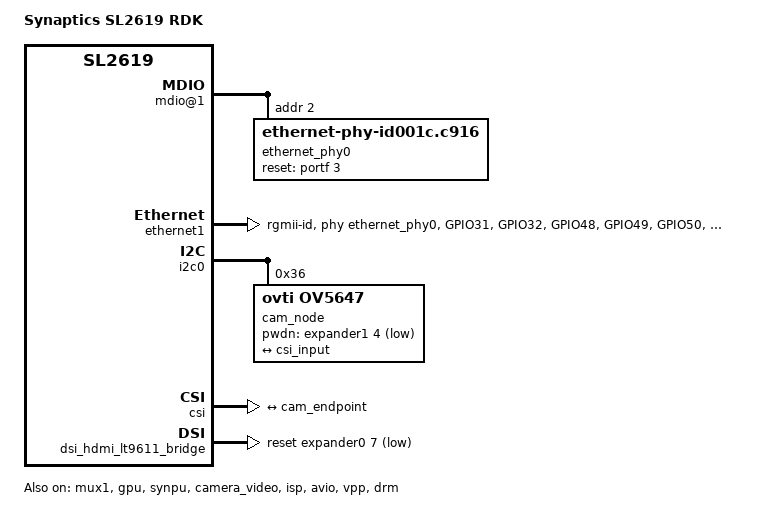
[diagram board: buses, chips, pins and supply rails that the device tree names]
// SPDX-License-Identifier: (GPL-2.0 OR MIT)
/*
 * Copyright (C) 2025 Synaptics Incorporated
 *
 * Author: Jisheng Zhang <jszhang@kernel.org>
 */

/dts-v1/;

#include "sl2619.dtsi"
#include "sl261x-rdk-common.dtsi"

/ {
	model = "Synaptics SL2619 RDK";
	compatible = "syna,sl2619-rdk", "syna,sl2619";

	mdio-demux {
		compatible = "mdio-demux";
		mux-controls = <&mux1 0>;
		mdio-parent-bus = <&mdio1>;
		#address-cells = <1>;
		#size-cells = <0>;

		mdio@1 {
			reg = <0x1>;
			#address-cells = <1>;
			#size-cells = <0>;

			ethernet_phy0: ethernet-phy@2 {
				compatible = "ethernet-phy-id001c.c916";
				reg = <2>;
				pinctrl-0 = <&eth1_phy_rst_pmux>;
				pinctrl-names = "default";
				realtek,clkout-disable;
				reset-assert-us = <20000>;
				reset-deassert-us = <100000>;
				reset-gpios = <&portf 3 GPIO_ACTIVE_HIGH>;
			};
		};
	};
};

&pinctrl {
	eth_mdio_pmux: eth-mdio-pmux {
		groups = "GPIO31", "GPIO32";
		function = "rgmii";
		drive-strength = <7>;
	};

	eth1_pmux: eth1-pmux {
		groups = "GPIO48", "GPIO49", "GPIO50", "GPIO51", "GPIO52", "GPIO53", "GPIO54", "GPIO55", "GPIO56", "GPIO57", "GPIO58", "GPIO59";
		function = "rgmii2";
		drive-strength = <7>;
	};
};

&mux1 {
	status = "okay";
};

&ethernet1 {
	status = "okay";
	pinctrl-0 = <&eth_mdio_pmux>, <&eth1_pmux>;
	pinctrl-names = "default";
	phy-handle = <&ethernet_phy0>;
	phy-mode = "rgmii-id";

	mdio1: mdio {
		compatible = "snps,dwmac-mdio";
		#address-cells = <1>;
		#size-cells = <0>;
	};
};

&i2c0 {
	cam_node: ov5647@36 {
		compatible = "ovti,ov5647";
		reg = <0x36>;
		status = "okay";

		pwdn-gpios = <&expander1 4 GPIO_ACTIVE_LOW>;
		clocks = <&osc>;

		rotation = <0>;
		orientation = <2>;

		port {
			cam_endpoint: endpoint {
				clock-lanes = <0>;
				data-lanes = <1 2>;
				clock-noncontinuous;
				remote-endpoint = <&csi_input>;
			};
		};
	};
};

&gpu {
	status = "okay";
};

&smmu {
	status = "okay";
};

&synpu {
	status = "okay";
};

&camera_video {
	status = "okay";
};

&isp {
	status = "okay";
};

&csi {
	status = "okay";

	ports {
		port@0 {
			csi_input: endpoint@0 {
				remote-endpoint = <&cam_endpoint>;
			};
		};
	};
};

&avio {
	status = "okay";
};

&vpp {
	status = "okay";
	enable_ampless_boot = <1>;
};

&drm {
	status = "okay";

	dsi_panel {
		status= "okay";

		ACTIVE_WIDTH = <1920>;
		HFP = <88>;
		HSYNCWIDTH = <44>;
		HBP = <148>;
		ACTIVE_HEIGHT = <1080>;
		VFP = <4>;
		VSYNCWIDTH = <5>;
		VBP = <36>;
		FREQ = <148500>;
		bits_per_pixel = <24>;
		busformat = <0>;

		HTOTAL = <2200>;
		Lanes = /bits/ 8 <4>;
		Vid_mode = /bits/ 8 <2>;
		virtual_chan = /bits/ 8 <0>;
		Clk_Lane_Polarity = /bits/ 8 <0>;
		Data_Lane_Polarity = /bits/ 8 <0>;
		Recv_ack = /bits/ 8 <0>;
		Loosely_18 = /bits/ 8 <0>;
		H_polarity = /bits/ 8 <1>;
		V_Polarity = /bits/ 8 <1>;
		Data_Polarity = /bits/ 8 <1>;
		Eotp_tx = /bits/ 8 <1>;
		Eotp_rx = /bits/ 8 <0>;
		non-Continuous_clk = /bits/ 8 <0>;
		dpi_lp_cmd = /bits/ 8 <1>;
		Color_coding = /bits/ 8 <5>;
		Chunks = <0>;
		Null_Pkt = <0>;
		Byte_clk = <148500>;

		/*  COMMAND= Command for initialisation
		*  Format - <CMD> <Payloadlength-n> <BYTE1> <...> <BYTEn>
		*  Long write Ex: 39 04 FF 98 81 03

		*  Delay in micro seconds Command format: 0xFF <4BYTE delay>
		*  Delay for 100ms(100000us => 0x000186A0)
		*      - FF A0 86 01 00
		*/
		command = /bits/ 8 <0xFF 0x10 0x27 0x00 0x00>;
	};

	dsi_hdmi_lt9611_bridge {
		compatible = "syna-bridge,lt9611";
		enable-gpio =  <&expander0 1 GPIO_ACTIVE_HIGH>;
		reset-gpio =  <&expander0 7 GPIO_ACTIVE_LOW>;
		i2c_bus = <2>;
	};
};
